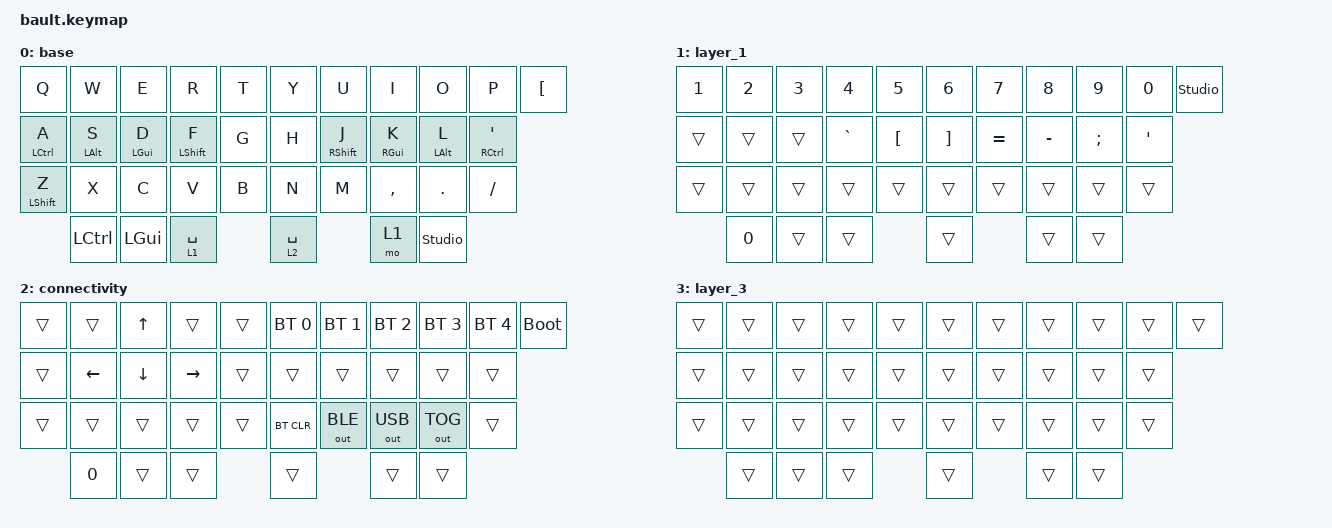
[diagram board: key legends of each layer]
#include <behaviors.dtsi>
#include <dt-bindings/zmk/bt.h>
#include <dt-bindings/zmk/keys.h>
#include <dt-bindings/zmk/outputs.h>

/ {
    behaviors {
        hm: homerow_mods {
            compatible = "zmk,behavior-hold-tap";
            display-name = "Homerow Mods";
            bindings = <&kp>, <&kp>;

            #binding-cells = <2>;
            tapping-term-ms = <150>;
            quick-tap-ms = <180>;
            require-prior-idle-ms = <0>;
            flavor = "tap-preferred";
        };
    };

    combos {
        compatible = "zmk,combos";

        esc {
            bindings = <&kp ESCAPE>;
            key-positions = <0 1>;
        };

        tab {
            bindings = <&kp TAB>;
            key-positions = <11 12>;
        };

        enter {
            bindings = <&kp ENTER>;
            key-positions = <13 14>;
        };

        bkp {
            bindings = <&kp BACKSPACE>;
            key-positions = <18 17>;
        };

        worddel {
            bindings = <&kp LC(BACKSPACE)>;
            key-positions = <17 18 19>;
        };
    };

    keymap {
        compatible = "zmk,keymap";

        base {
            bindings = <
&kp Q               &kp W           &kp E         &kp R             &kp T  &kp Y        &kp U              &kp I            &kp O           &kp P           &kp LEFT_BRACKET
&hm LEFT_CONTROL A  &hm LEFT_ALT S  &hm LGUI D    &hm LEFT_SHIFT F  &kp G  &kp H        &hm RIGHT_SHIFT J  &hm RIGHT_GUI K  &hm LEFT_ALT L  &hm RCTRL APOS
&hm LEFT_SHIFT Z    &kp X           &kp C         &kp V             &kp B  &kp N        &kp M              &kp COMMA        &kp PERIOD      &kp SLASH
                    &kp LCTRL       &kp LEFT_GUI  &lt 1 SPACE              &lt 2 SPACE                     &mo 1            &studio_unlock
            >;
        };

        layer_1 {
            bindings = <
&kp N1  &kp N2  &kp N3  &kp N4     &kp N5            &kp N6             &kp N7     &kp N8     &kp N9    &kp N0    &studio_unlock
&trans  &trans  &trans  &kp GRAVE  &kp LEFT_BRACKET  &kp RIGHT_BRACKET  &kp EQUAL  &kp MINUS  &kp SEMI  &kp APOS
&trans  &trans  &trans  &trans     &trans            &trans             &trans     &trans     &trans    &trans
        &kp N0  &trans  &trans                       &trans                        &trans     &trans
            >;
        };

        connectivity {
            bindings = <
&trans  &trans    &kp UP_ARROW  &trans     &trans  &bt BT_SEL 0  &bt BT_SEL 1  &bt BT_SEL 2  &bt BT_SEL 3  &bt BT_SEL 4  &bootloader
&trans  &kp LEFT  &kp DOWN      &kp RIGHT  &trans  &trans        &trans        &trans        &trans        &trans
&trans  &trans    &trans        &trans     &trans  &bt BT_CLR    &out OUT_BLE  &out OUT_USB  &out OUT_TOG  &trans
        &kp N0    &trans        &trans             &trans                      &trans        &trans
            >;
        };

        layer_3 {
            bindings = <
&trans  &trans  &trans  &trans  &trans  &trans  &trans  &trans  &trans  &trans  &trans
&trans  &trans  &trans  &trans  &trans  &trans  &trans  &trans  &trans  &trans
&trans  &trans  &trans  &trans  &trans  &trans  &trans  &trans  &trans  &trans
        &trans  &trans  &trans          &trans          &trans  &trans
            >;
        };
    };
};
